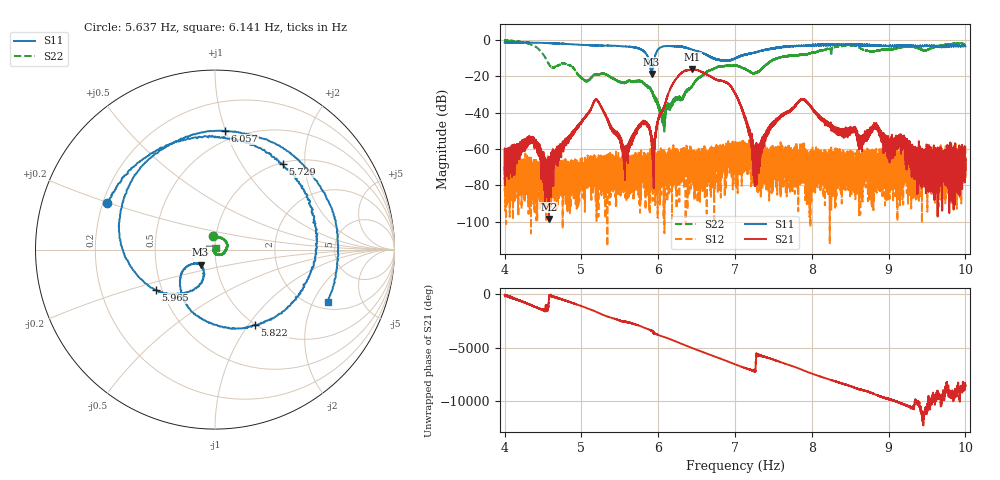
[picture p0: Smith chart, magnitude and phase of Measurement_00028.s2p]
!Created with skrf (http://scikit-rf.org).
# Hz S RI R 50.0
!freq ReS11 ImS11 ReS21 ImS21 ReS12 ImS12 ReS22 ImS22
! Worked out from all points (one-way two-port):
!   14001 points, 4 Hz to 10 Hz, reference 50 ohm
!   highest |S21| = -16.14 dB at 6.444 Hz (marker M1); lowest = -98.5 dB at 4.576 Hz (marker M2)
!   lowest |S11| = -18.7 dB at 5.914 Hz (marker M3), VSWR 1.26, Z = 42 - j7.1 ohm
!   |S11| at or under -10 dB: 5.871 Hz to 5.952 Hz (80.84 mHz wide, 1.37 % of centre); 6.717 Hz to 6.997 Hz (280.4 mHz wide, 4.09 % of centre); 6.997997 Hz to 6.999191 Hz (1.194 mHz wide, 0.0171 % of centre) (the widest 3 of 7)
!   |S22| runs from -51.1 to -0.2 dB; largest |S21 - S12| = 0.16
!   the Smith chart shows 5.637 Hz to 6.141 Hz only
!   S11 on the Smith chart (normalised r, x): 5.637 Hz: 0.22, +0.20; 5.729 Hz: 1.03, +1.56; 5.822 Hz: 0.99, -1.07; 5.965 Hz: 0.46, -0.25; 6.057 Hz: 0.42, +1.00; 6.141 Hz: 2.34, -2.60
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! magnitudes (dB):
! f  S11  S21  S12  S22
! 4 Hz  -1.3  -71.4  -73.4  -0.3
! 4.346 Hz  -1.4  -54.5  -83.0  -2.5
! 4.576 Hz  -1.7  -98.5  -75.0  -13.2
! 5 Hz  -2.6  -45.7  -79.6  -20.7
! 5.199 Hz  -2.9  -32.8  -72.4  -18.7
! 5.561 Hz  -3.5  -65.4  -76.4  -23.6
! 5.637 Hz  -3.7  -54.7  -72.4  -22.6
! 5.729 Hz  -4.3  -48.1  -69.8  -22.5
! 5.822 Hz  -6.5  -44.8  -70.4  -24.1
! 5.914 Hz  -18.7  -55.9  -77.8  -28.0
! 5.965 Hz  -8.0  -52.4  -69.8  -31.9
! 6 Hz  -5.1  -43.7  -68.3  -34.5
! 6.057 Hz  -3.6  -38.6  -76.4  -44.6
! 6.141 Hz  -3.2  -28.5  -84.6  -37.2
! 6.444 Hz  -5.3  -16.1  -61.6  -25.4
! 7 Hz  -10.0  -29.3  -60.9  -14.0
! 7.27 Hz  -6.7  -67.3  -63.7  -17.8
! 7.579 Hz  -4.1  -43.2  -67.2  -9.4
! 8 Hz  -3.0  -37.3  -77.9  -6.9
! 8.833 Hz  -2.8  -47.5  -66.9  -5.9
! 9 Hz  -3.3  -55.3  -77.4  -5.0
! 10 Hz  -3.4  -65.6  -58.7  -3.1
